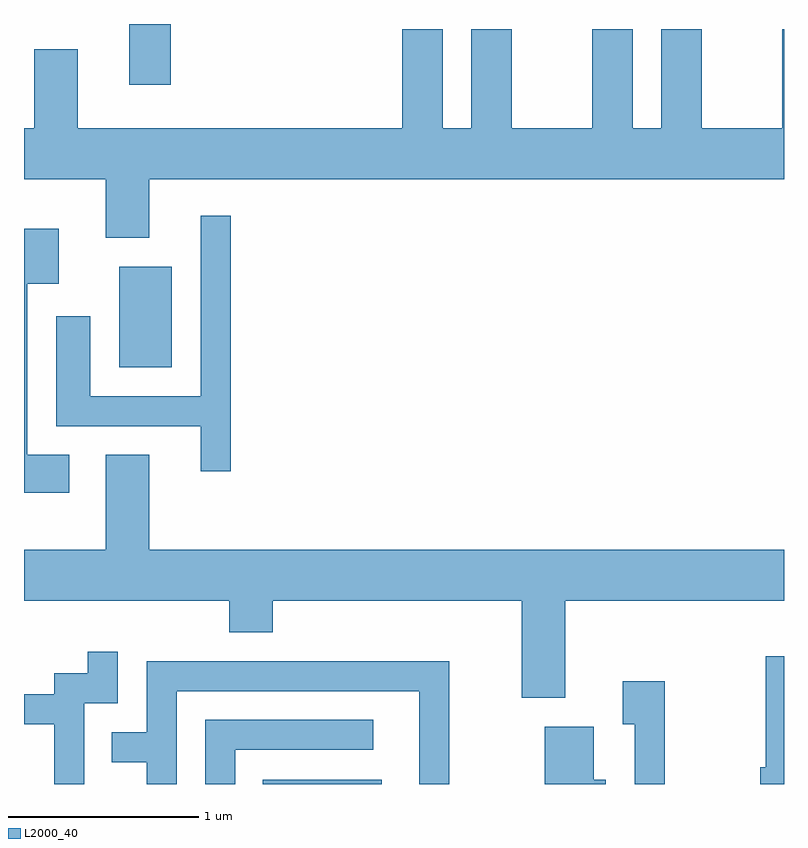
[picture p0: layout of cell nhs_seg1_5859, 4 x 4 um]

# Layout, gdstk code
import gdstk
lib = gdstk.Library(unit=1e-6, precision=1e-09)
def R(c, l, rs):  # rectangles x0, y0, x1, y1
    for r in rs: c.add(gdstk.rectangle(r[:2], r[2:], *l))
def P(c, l, *ps):  # polygons
    for p in ps: c.add(gdstk.Polygon(p, *l))
L2000_40 = (2000, 40)

nhs_seg1_5859 = lib.new_cell('nhs_seg1_5859')
R(nhs_seg1_5859, L2000_40, [(362.868,909.712,363.494,909.734), (362.111,911.906,362.389,912.434), (362.166,913.391,362.384,913.712)])
P(nhs_seg1_5859, L2000_40, [(362.269,912.896),(365.611,912.896),(365.611,913.684),(365.601,913.684),(365.601,913.164),(365.179,913.164),(365.179,913.684),(364.966,913.684),(364.966,913.164),(364.814,913.164),(364.814,913.684),(364.601,913.684),(364.601,913.164),(364.179,913.164),(364.179,913.684),(363.966,913.684),(363.966,913.164),(363.814,913.164),(363.814,913.684),(363.601,913.684),(363.601,913.164),(361.894,913.164),(361.894,913.579),(361.666,913.579),(361.666,913.164),(361.611,913.164),(361.611,912.896),(362.041,912.896),(362.041,912.586),(362.269,912.586)],
  [(362.699,912.703),(362.541,912.703),(362.541,911.754),(361.959,911.754),(361.959,912.174),(361.781,912.174),(361.781,911.596),(362.541,911.596),(362.541,911.358),(362.699,911.358)],
  [(361.849,911.444),(361.629,911.444),(361.629,912.346),(361.794,912.346),(361.794,912.634),(361.611,912.634),(361.611,911.246),(361.849,911.246)],
  [(364.459,910.676),(365.611,910.676),(365.611,910.944),(362.269,910.944),(362.269,911.444),(362.041,911.444),(362.041,910.944),(361.611,910.944),(361.611,910.676),(362.691,910.676),(362.691,910.511),(362.919,910.511),(362.919,910.676),(364.231,910.676),(364.231,910.166),(364.459,910.166)],
  [(361.929,910.136),(362.104,910.136),(362.104,910.408),(361.946,910.408),(361.946,910.294),(361.771,910.294),(361.771,910.184),(361.611,910.184),(361.611,910.026),(361.771,910.026),(361.771,909.712),(361.929,909.712)],
  [(365.611,910.384),(365.516,910.384),(365.516,909.799),(365.486,909.799),(365.486,909.712),(365.611,909.712)],
  [(362.414,910.201),(363.691,910.201),(363.691,909.712),(363.849,909.712),(363.849,910.359),(362.256,910.359),(362.256,909.984),(362.073,909.984),(362.073,909.826),(362.256,909.826),(362.256,909.712),(362.414,909.712)],
  [(364.984,910.254),(364.761,910.254),(364.761,910.026),(364.826,910.026),(364.826,909.712),(364.984,909.712)],
  [(362.724,909.891),(363.448,909.891),(363.448,910.049),(362.566,910.049),(362.566,909.712),(362.724,909.712)],
  [(364.674,909.734),(364.609,909.734),(364.609,910.014),(364.351,910.014),(364.351,909.712),(364.674,909.712)])

lib.write_gds('nhs_seg1_5859.gds')
